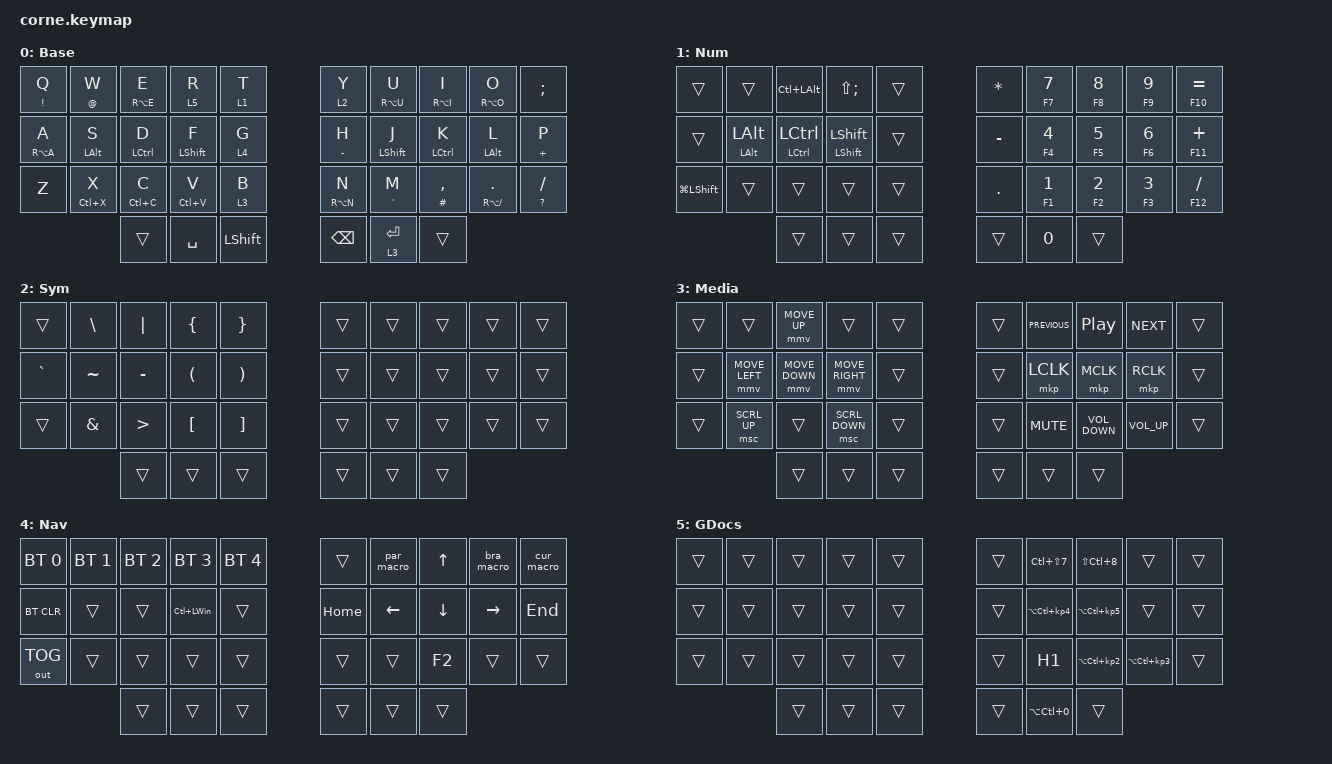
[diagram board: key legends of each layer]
/*
 * Copyright (c) 2020 The ZMK Contributors
 *
 * SPDX-License-Identifier: MIT
 */

#define ZMK_POINTING_DEFAULT_MOVE_VAL 1000
#define ZMK_POINTING_DEFAULT_SCRL_VAL 15

#include <behaviors.dtsi>
#include <dt-bindings/zmk/bt.h>
#include <dt-bindings/zmk/keys.h>
#include <dt-bindings/zmk/outputs.h>
#include <dt-bindings/zmk/pointing.h>

/ {
    chosen { zmk,matrix_transform = &five_column_transform; };

    behaviors {
        kht: kht {
            compatible = "zmk,behavior-hold-tap";
            label = "Key hold tap";
            bindings = <&kp>, <&kp>;

            #binding-cells = <2>;
            tapping-term-ms = <200>;
            quick-tap-ms = <200>;
            require-prior-idle-ms = <125>;
            flavor = "tap-preferred";
        };
    };

    macros {
        par_macro: par_macro {
            compatible = "zmk,behavior-macro";
            #binding-cells = <0>;
            bindings = <&kp LPAR &kp RPAR &kp LEFT>;
            label = "PAR_MACRO";
        };

        bra_macro: bra_macro {
            compatible = "zmk,behavior-macro";
            #binding-cells = <0>;
            bindings = <&kp LEFT_BRACKET &kp RIGHT_BRACKET &kp LEFT>;
            label = "BRA_MACRO";
        };

        cur_macro: cur_macro {
            compatible = "zmk,behavior-macro";
            #binding-cells = <0>;
            bindings = <&kp LEFT_BRACE &kp RIGHT_BRACE &kp LEFT_ARROW>;
            label = "CUR_MACRO";
        };

        H1: H1 {
            compatible = "zmk,behavior-macro";
            #binding-cells = <0>;
            bindings =
                <&kp LC(LEFT_ALT)>,
                <&macro_press>,
                <&kp KP_NUMBER_1>,
                <&macro_tap>,
                <&kp LC(LEFT_ALT)>,
                <&macro_release>;

            label = "H1";
        };
    };

    combos {
        compatible = "zmk,combos";

        combo_esc {
            bindings = <&kp ESC>;
            key-positions = <0 1>;
        };

        combo_tab {
            bindings = <&kp TAB>;
            key-positions = <11 13 12>;
        };

        combo_win {
            bindings = <&kp LEFT_WIN>;
            key-positions = <16 17>;
        };

        combo_del {
            bindings = <&kp DELETE>;
            key-positions = <32 33>;
        };

        combo_caps {
            bindings = <&kp CAPSLOCK>;
            key-positions = <13 16>;
        };

        combo_prtsc {
            bindings = <&kp PSCRN>;
            key-positions = <20 9>;
        };

        Del2 {
            bindings = <&kp DELETE>;
            key-positions = <32 33>;
        };
    };

    keymap {
        compatible = "zmk,keymap";

        base {
            // -----------------------------------------------------------------------------------------
            // |  Q  |  W  |  E  |  R  |  T  |     |  Y  |  U   |  I   |  O   | P |
            // |  A  |  S  |  D  |  F  |  G  |     |  H  |  J   |  K   |  L   | ' | 
            // |  Z  |  X  |  C  |  V  |  B  |     |  N  |  M   | CTRL | META | . |
            //             | GUI | LWR | SPC |     | ENT | RSE  | BSPC |

            display-name = "Base";
            bindings = <
  &kht EXCLAMATION Q  &kht AT_SIGN W   &kht RA(E) E  &lt 5 R            &lt 1 T           &lt 2 Y        &kht RA(U) U       &kht RA(I) I     &kht RA(O) O        &kp SEMICOLON
  &kht RA(A) A        &kht LEFT_ALT S  &kht LCTRL D  &kht LEFT_SHIFT F  &lt 4 G           &kht MINUS H   &kht LEFT_SHIFT J  &kht LCTRL K     &kht LEFT_ALT L     &kht PLUS P
  &kp Z               &kht LC(X) X     &kht LC(C) C  &kht LC(V) V       &lt 3 B           &kht RA(N) N   &kht SQT M         &kht HASH COMMA  &kht RA(SLASH) DOT  &kht QUESTION SLASH
                                       &trans        &kp SPACE          &kp LEFT_SHIFT    &kp BACKSPACE  &lt 3 ENTER        &trans
            >;
        };

        Num {
            // -----------------------------------------------------------------------------------------
            // |  1  |  2  |  3  |  4  |  5  |   |  6  |  7  |  8  |  9  |  0  |
            // | BT1 | BT2 | BT3 | BT4 | BT5 |   | LFT | DWN |  UP | RGT |     |
            // |     |     |     |     |     |   |     |     |     |     |     |
            //               | GUI |     | SPC |   | ENT |     | ALT |

            display-name = "Num";
            bindings = <
  &trans              &trans                  &kp LC(LEFT_ALT)                &kp LS(SEMICOLON)           &trans    &kp ASTRK   &kht F7 NUMBER_7  &kht F8 NUMBER_8  &kht F9 NUMBER_9  &kht F10 EQUAL
  &trans              &kht LEFT_ALT LEFT_ALT  &kht LEFT_CONTROL LEFT_CONTROL  &kht LEFT_SHIFT LEFT_SHIFT  &trans    &kp MINUS   &kht F4 NUMBER_4  &kht F5 NUMBER_5  &kht F6 NUMBER_6  &kht F11 PLUS
  &kp LG(LEFT_SHIFT)  &trans                  &trans                          &trans                      &trans    &kp PERIOD  &kht F1 NUMBER_1  &kht F2 NUMBER_2  &kht F3 NUMBER_3  &kht F12 SLASH
                                              &trans                          &trans                      &trans    &trans      &kp NUMBER_0      &trans
            >;
        };

        Sym {
            // -----------------------------------------------------------------------------------------
            // |  !  |  @  |  #  |  $  |  %  |   |  ^  |  &  |  *  |  (  |  )  |
            // |     |     |     |     |     |   |  -  |  =  |  [  |  ]  |  \  |
            // |     |     |     |     |     |   |  _  |  +  |  {  |  }  | "|" |
            //            | GUI |     | SPC |   | ENT |     | ALT |

            display-name = "Sym";
            bindings = <
  &trans     &kp BACKSLASH  &kp PIPE          &kp LEFT_BRACE    &kp RBRC             &trans  &trans  &trans  &trans  &trans
  &kp GRAVE  &kp TILDE      &kp MINUS         &kp LPAR          &kp RPAR             &trans  &trans  &trans  &trans  &trans
  &trans     &kp AMPERSAND  &kp GREATER_THAN  &kp LEFT_BRACKET  &kp RIGHT_BRACKET    &trans  &trans  &trans  &trans  &trans
                            &trans            &trans            &trans               &trans  &trans  &trans
            >;
        };

        Media {
            display-name = "Media";
            bindings = <
  &trans  &trans          &mmv MOVE_UP    &trans           &trans    &trans  &kp C_PREVIOUS  &kp C_PLAY_PAUSE   &kp C_NEXT       &trans
  &trans  &mmv MOVE_LEFT  &mmv MOVE_DOWN  &mmv MOVE_RIGHT  &trans    &trans  &mkp LCLK       &mkp MCLK          &mkp RCLK        &trans
  &trans  &msc SCRL_UP    &trans          &msc SCRL_DOWN   &trans    &trans  &kp C_MUTE      &kp C_VOLUME_DOWN  &kp C_VOLUME_UP  &trans
                          &trans          &trans           &trans    &trans  &trans          &trans
            >;
        };

        Nav {
            display-name = "Nav";
            bindings = <
  &bt BT_SEL 0  &bt BT_SEL 1  &bt BT_SEL 2  &bt BT_SEL 3      &bt BT_SEL 4    &trans    &par_macro  &kp UP_ARROW  &bra_macro  &cur_macro
  &bt BT_CLR    &trans        &trans        &kp LC(LEFT_WIN)  &trans          &kp HOME  &kp LEFT    &kp DOWN      &kp RIGHT   &kp END
  &out OUT_TOG  &trans        &trans        &trans            &trans          &trans    &trans      &kp F2        &trans      &trans
                              &trans        &trans            &trans          &trans    &trans      &trans
            >;
        };

        GDocs {
            bindings = <
  &trans  &trans  &trans  &trans  &trans    &trans  &kp LC(LS(NUMBER_7))     &kp LS(LC(NUMBER_8))     &trans                   &trans
  &trans  &trans  &trans  &trans  &trans    &trans  &kp LA(LC(KP_NUMBER_4))  &kp LA(LC(KP_NUMBER_5))  &trans                   &trans
  &trans  &trans  &trans  &trans  &trans    &trans  &H1                      &kp LA(LC(KP_NUMBER_2))  &kp LA(LC(KP_NUMBER_3))  &trans
                  &trans  &trans  &trans    &trans  &kp LA(LC(NUMBER_0))     &trans
            >;

            label = "GDocs";
        };
    };
};
